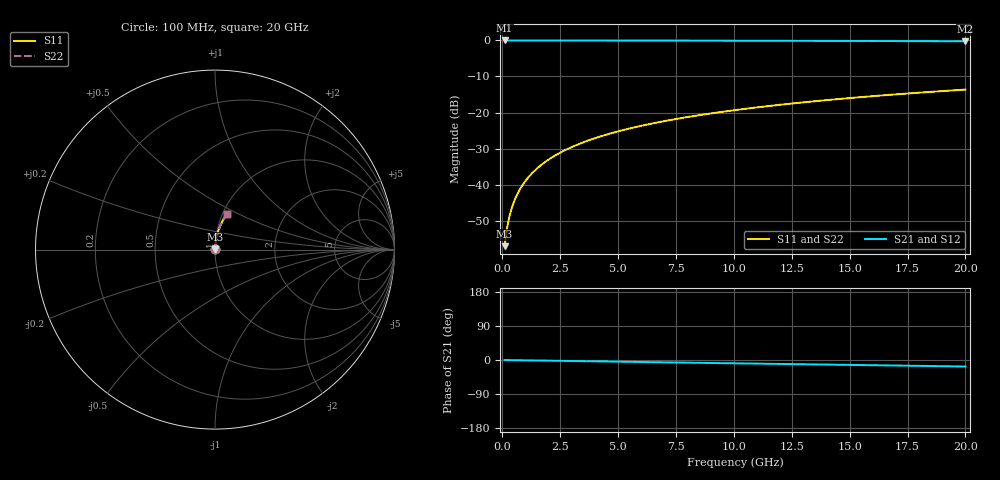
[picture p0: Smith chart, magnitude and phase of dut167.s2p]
! Touchstone file exported from HFSS 2026.1.0
!  File:  C:/ffzhzh/LocalFiles/Ansys_Project_Files/temp_train_TMRDL_167_1782983415_41620.aedt
!  Generated:  05:11:23 PM Jul  2, 2026
!  Design:  TMRDL
!  Project:  temp_train_TMRDL_167_1782983415_41620
! Variables:
!  h_bsmrdl = 2um
!  h_ox = 20um
!  h_rdl = 5um
!  h_sub = 80um
!  h_tmrdl = 5.94um
!  h_tsv = 80um
!  h_via = 3um
!  l_bsmrdl = 300um
!  l_sub = 581.61um
!  l_tmrdl = 181.61um
!  m_sub = 200um
!  pitch = 57.93um
!  r_tsv = 6um
!  s_tmrdl = 10um
!  w_bsmrdl = 18um
!  w_sub = 500um
!  w_tmrdl = 15.73um
!  x_tsv_center1 = 189.475um
!  x_tsv_center2 = 507.475um
!  x_tsv_center3 = 704.815um
!  x_tsv_center4 = 1022.815um
!  x_tsv_center5 = 1220.155um
!  x_tsv_center6 = 1538.155um
# GHz S MA R 50.000000
! Terminal data exported
! Port[1] = TM_RDL1_1_T1
! Port[2] = TM_RDL1_1_T2
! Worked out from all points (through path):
!   200 points, 100 MHz to 20 GHz, reference 50 ohm
!   highest |S21| = -0.01 dB at 100 MHz (marker M1); lowest = -0.2 dB at 20 GHz (marker M2)
!   group delay of S21, straight-line fit = 2.38 ps
!   lowest |S11| = -57.1 dB at 100 MHz (marker M3), VSWR 1.00, Z = 50.1 + j0.116 ohm
!   |S11| at or under -10 dB: start of sweep to end of sweep
!   |S22| runs from -57.1 to -13.6 dB; largest |S21 - S12| = 3.2e-15
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0.1  0.001401 55.5  0.9992 -0.1  0.9992 -0.1  0.001401 55.5
! Gamma 0 0 0 0
! Port Impedance 50 0 50 0
0.2  0.002443 70.3  0.9992 -0.2  0.9992 -0.2  0.002443 70.3
0.3  0.003539 75.9  0.9992 -0.3  0.9992 -0.3  0.003539 75.9
0.4  0.004644 78.7  0.9991 -0.4  0.9991 -0.4  0.004644 78.7
0.5  0.005748 80.5  0.9991 -0.5  0.9991 -0.5  0.005748 80.5
0.7  0.007953 82.5  0.999 -0.6  0.999 -0.6  0.007953 82.5
0.8  0.009055 83.1  0.999 -0.7  0.999 -0.7  0.009055 83.1
1  0.01126 83.9  0.9989 -0.9  0.9989 -0.9  0.01126 83.9
1.2  0.01346 84.4  0.9988 -1.1  0.9988 -1.1  0.01346 84.4
1.4  0.01567 84.7  0.9987 -1.3  0.9987 -1.3  0.01567 84.7
1.7  0.01897 85.0  0.9986 -1.5  0.9986 -1.5  0.01897 85.0
2  0.02227 85.1  0.9985 -1.8  0.9985 -1.8  0.02227 85.1
2.7  0.02994 84.9  0.9981 -2.4  0.9981 -2.4  0.02994 84.9
3.5  0.03865 84.5  0.9976 -3.1  0.9976 -3.1  0.03865 84.5
4.2  0.04621 84.1  0.9971 -3.7  0.9971 -3.7  0.04621 84.1
5  0.0548 83.5  0.9965 -4.4  0.9965 -4.4  0.0548 83.5
6.8  0.07395 82.1  0.9949 -6.0  0.9949 -6.0  0.07395 82.1
8.3  0.08975 81.0  0.9933 -7.3  0.9933 -7.3  0.08975 81.0
10.1  0.1085 79.6  0.9911 -8.8  0.9911 -8.8  0.1085 79.6
13.4  0.1425 77.0  0.9864 -11.6  0.9864 -11.6  0.1425 77.0
16.7  0.1757 74.3  0.9807 -14.4  0.9807 -14.4  0.1757 74.3
20  0.208 71.7  0.974 -17.2  0.974 -17.2  0.208 71.7
